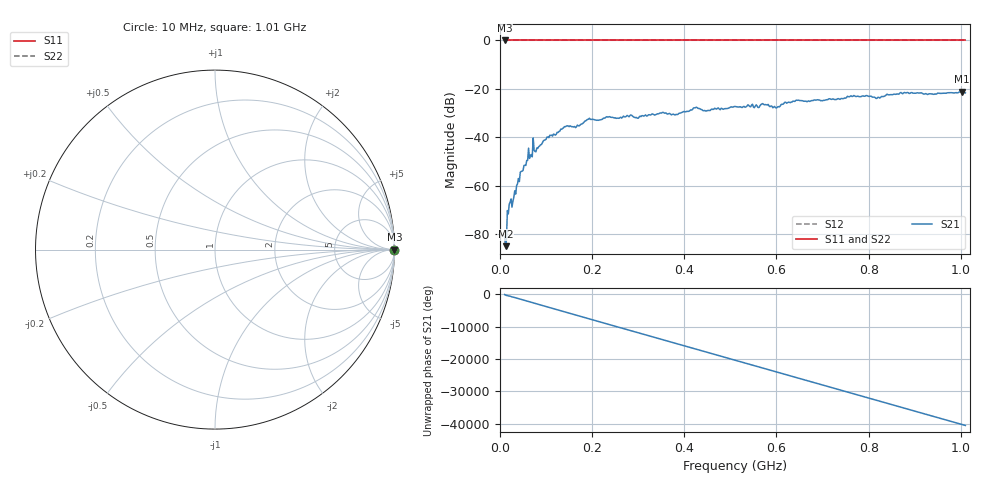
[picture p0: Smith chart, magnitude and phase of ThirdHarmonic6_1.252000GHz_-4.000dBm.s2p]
! 8/16/2025 1:23:17 PM
! C:\ANRITSUVNA\TEMP\TEMP.S2P
! CHANNEL.1
! TR.MEASUREMENT
! RAW.DATA
! RF.CORRECTION.OFF
! AVERAGING.OFF
! IF.BANDWIDTH: 5KHZ
! SWEEPTYPE:  FREQ.SWEEP(Linear)
! Reference Plane Port Info
! PORT:  PORT1  PORT2
! DISTANCE:  0  m  0  m
! TIME:  0  s  0  s
! PHASE.OFFSET:  0  deg.  0  deg.
! LOSS:  0  dB  0  dB
! REF.LOSS:  0  dB  0  dB
! REF.FREQ:  0  Hz  0  Hz
! Power Info
! POWER:  -20  dBm  -20  dBm
! EFF.POWER:  -20  dBm  -20  dBm
! SOURCE.ATTEN:  0  dB  0  dB
! TEST.ATTEN:  0  dB  0  dB
# GHZ S RI R 50.0
! FREQ.GHZ  S11RE  S11IM  S21RE  S21IM  S12RE  S12IM  S22RE  S22IM
!; PortSelection: Port_12
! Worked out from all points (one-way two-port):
!   501 points, 10 MHz to 1.01 GHz, reference 50 ohm
!   highest |S21| = -21.12 dB at 1.002 GHz (marker M1); lowest = -85.0 dB at 12 MHz (marker M2)
!   lowest |S11| = 0.0 dB at 10 MHz (marker M3)
!   |S11| at or under -10 dB: nowhere
!   |S22| runs from 0.0 to 0.0 dB; largest |S21 - S12| = 1.1
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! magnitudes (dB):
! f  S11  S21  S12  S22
! 10 MHz  0.0  -81.0  0.0  0.0
! 12 MHz  0.0  -85.0  0.0  0.0
! 20 MHz  0.0  -67.6  0.0  0.0
! 30 MHz  0.0  -64.8  0.0  0.0
! 48 MHz  0.0  -54.0  0.0  0.0
! 70 MHz  0.0  -48.1  0.0  0.0
! 142 MHz  0.0  -35.6  0.0  0.0
! 178 MHz  0.0  -34.5  0.0  0.0
! 194 MHz  0.0  -32.1  0.0  0.0
! 344 MHz  0.0  -30.3  0.0  0.0
! 382 MHz  0.0  -30.5  0.0  0.0
! 424 MHz  0.0  -27.8  0.0  0.0
! 446 MHz  0.0  -29.1  0.0  0.0
! 510 MHz  0.0  -27.3  0.0  0.0
! 572 MHz  0.0  -26.4  0.0  0.0
! 602 MHz  0.0  -27.5  0.0  0.0
! 644 MHz  0.0  -24.7  0.0  0.0
! 678 MHz  0.0  -24.8  0.0  0.0
! 820 MHz  0.0  -23.5  0.0  0.0
! 844 MHz  0.0  -22.5  0.0  0.0
! 1.002 GHz  0.0  -21.1  0.0  0.0
! 1.01 GHz  0.0  -21.6  0.0  0.0
